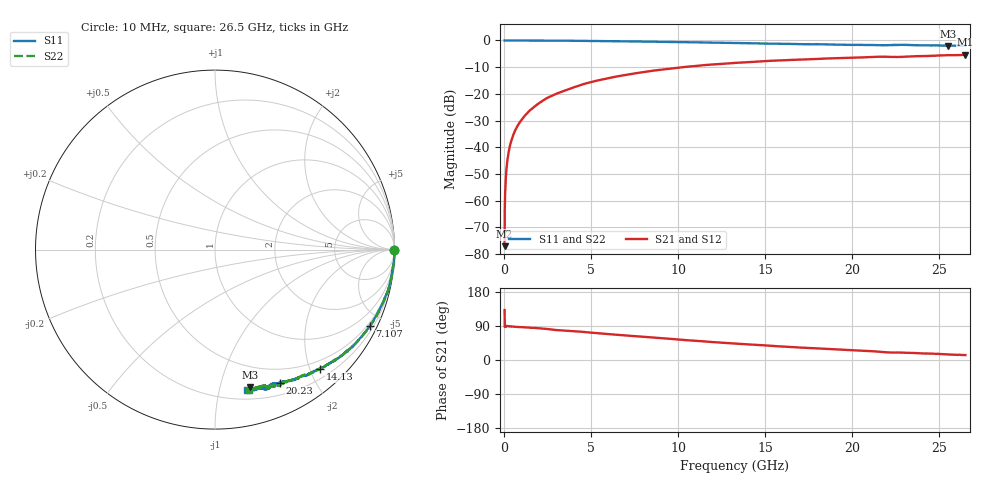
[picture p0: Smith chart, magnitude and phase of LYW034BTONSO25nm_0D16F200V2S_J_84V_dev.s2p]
!Keysight Technologies,N5222B,MY61253708,A.15.00.15
!Date: Wednesday, June 19, 2024 09:27:30
!Correction: S11(C  2-Port  )
!S21(C  2-Port  )
!S12(C  2-Port  )
!S22(C  2-Port  )
!S2P File: Measurements: S11, S21, S12, S22:
# Hz S  RI  R 50
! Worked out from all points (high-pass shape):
!   2651 points, 10 MHz to 26.5 GHz, reference 50 ohm
!   highest |S21| = -5.37 dB at 26.5 GHz (marker M1); lowest = -77.1 dB at 10 MHz (marker M2)
!   |S21| within 3 dB of the highest: 13.39 GHz to end of sweep
!   lowest |S11| = -2.0 dB at 25.5 GHz (marker M3), VSWR 8.63, Z = 15 - j62 ohm
!   |S11| at or under -10 dB: nowhere
!   |S22| runs from -1.9 to 0.0 dB; largest |S21 - S12| = 0.007
!   S11 on the Smith chart (normalised r, x): 10 MHz: open; 7.107 GHz: 0.37, -4.24; 14.13 GHz: 0.35, -2.17; 20.23 GHz: 0.33, -1.55; 26.5 GHz: 0.28, -1.21
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1e7  0.9985 -0.00237  -9.32e-05 0.000104  -3.97e-05 0.00028  0.9986 -0.000805
7.997358e7  0.9999 -0.00576  9.16e-06 0.00265  5.38e-05 0.00267  0.9994 -0.00533
1.499472e8  0.9999 -0.011  3.77e-05 0.00503  5.44e-05 0.00505  0.9995 -0.0103
1.899321e8  1 -0.013  5.81e-05 0.00636  7.22e-05 0.00641  0.9998 -0.0122
2.29917e8  0.9995 -0.0162  0.000115 0.00769  0.000114 0.00777  0.9992 -0.0152
3.19883e8  0.9995 -0.022  0.000247 0.0107  0.000201 0.0108  0.9993 -0.0207
4.49834e8  0.9991 -0.0309  0.000461 0.015  0.000471 0.0151  0.9988 -0.0301
7.797094e8  0.9982 -0.0526  0.00135 0.0259  0.00138 0.0262  0.9979 -0.0518
1.079596e9  0.997 -0.074  0.00232 0.0356  0.00234 0.036  0.996 -0.0718
1.429464e9  0.9901 -0.0978  0.00343 0.0475  0.00352 0.0478  0.9931 -0.0939
2.319128e9  0.9813 -0.1527  0.0101 0.0781  0.0103 0.0787  0.9827 -0.1528
3.138819e9  0.9701 -0.2055  0.0208 0.1029  0.021 0.1036  0.9714 -0.2034
4.428332e9  0.9409 -0.2832  0.0393 0.1428  0.0398 0.1439  0.943 -0.2795
7.107321e9  0.8618 -0.4269  0.0999 0.2072  0.1015 0.2081  0.8641 -0.4244
8.846664e9  0.7984 -0.5051  0.1474 0.2378  0.1491 0.2385  0.8012 -0.5023
1.3255e10  0.6206 -0.6437  0.2755 0.2608  0.2781 0.2605  0.6263 -0.6413
1.413467e10  0.5849 -0.6644  0.2985 0.2573  0.3012 0.2574  0.5921 -0.6595
1.767333e10  0.4477 -0.7207  0.3813 0.2318  0.3851 0.2299  0.4606 -0.7179
2.023237e10  0.3619 -0.7423  0.4321 0.2034  0.4346 0.201  0.3775 -0.7418
2.209166e10  0.3131 -0.7515  0.4632 0.1691  0.4653 0.1657  0.3095 -0.7583
2.550038e10  0.1948 -0.7679  0.5115 0.1321  0.5133 0.1314  0.2174 -0.7721
2.65e10  0.1759 -0.7823  0.525 0.1211  0.5247 0.1168  0.1909 -0.7818
